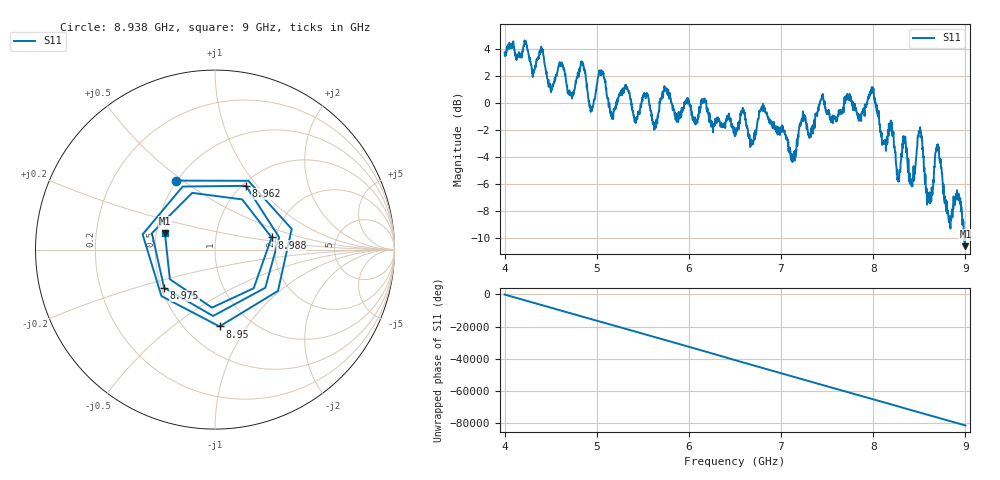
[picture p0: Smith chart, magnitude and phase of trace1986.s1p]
! Created with skrf 1.8.0 (http://scikit-rf.org).
# Hz S RI R 50.0
!freq ReS11 ImS11
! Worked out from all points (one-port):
!   1601 points, 4 GHz to 9 GHz, reference 50 ohm
!   lowest |S11| = -10.6 dB at 9 GHz (marker M1), VSWR 1.83, Z = 27.8 + j5.58 ohm
!   |S11| at or under -10 dB: 8.989047 GHz to 8.992814 GHz (3.767 MHz wide, 0.0419 % of centre); 8.994981 GHz to end of sweep
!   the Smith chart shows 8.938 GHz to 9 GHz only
!   S11 on the Smith chart (normalised r, x): 8.938 GHz: 0.50, +0.47; 8.95 GHz: 0.72, -0.76; 8.962 GHz: 1.04, +0.88; 8.975 GHz: 0.52, -0.25; 8.988 GHz: 1.89, +0.29; 9 GHz: 0.56, +0.11
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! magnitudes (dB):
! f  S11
! 4 GHz  3.7
! 4.625 GHz  2.7
! 4.719 GHz  0.6
! 4.85 GHz  2.8
! 4.938 GHz  -0.4
! 5.047 GHz  2.1
! 5.156 GHz  -1.0
! 5.25 GHz  0.7
! 5.875 GHz  -1.1
! 6.5 GHz  -2.2
! 6.806 GHz  -0.6
! 7.125 GHz  -4.4
! 7.434 GHz  0.3
! 7.75 GHz  0.5
! 7.988 GHz  0.8
! 8.269 GHz  -5.5
! 8.375 GHz  -4.9
! 8.422 GHz  -6.0
! 8.506 GHz  -2.1
! 8.597 GHz  -7.0
! 8.694 GHz  -3.5
! 8.819 GHz  -8.8
! 8.938 GHz  -7.1
! 8.95 GHz  -7.4
! 8.962 GHz  -8.1
! 8.975 GHz  -9.0
! 8.988 GHz  -9.8
! 9 GHz  -10.6
